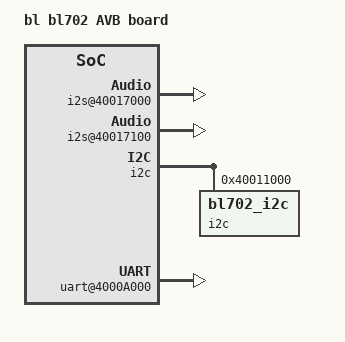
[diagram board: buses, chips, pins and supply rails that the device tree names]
/dts-v1/;
// version: 17
// last_comp_version: 16
// boot_cpuid_phys: 0x0

/ {
    model = "bl bl702 AVB board";
    compatible = "bl,bl702-sample", "bl,bl702-common";
    #address-cells = <0x1>;
    #size-cells = <0x1>;
    gpio {
        #address-cells = <1>;
        #size-cells = <1>;
        max_num = <40>;
        gpio0 {                                  
            status = "okay";                     
            pin  = <31>;                          
            feature = "led";                     
            active = "Hi"; //Hi or Lo
            mode = "blink"; //blink or hearbeat
            time = <100>; //duration for this mode
        };
        gpio1 {                                  
            status = "disable";                     
            pin  = <6>;                          
            feature = "led";                     
            active = "Hi"; //Hi or Lo
            mode = "blink"; //blink or hearbeat
            time = <100>; //duration for this mode
        };
    };
    i2s {
        #address-cells = <1>;
        #size-cells = <1>;
        i2s@40017000 {
            status = "okay";
            compatible = "bl702_i2s";
            reg = <0x40017000 0x100>;
            mclk_only = "okay";
            pin {
                mclk = <11>;
            };
        };
        i2s@40017100 {
            status = "okay";
            compatible = "bl702_i2s";
            reg = <0x40017100 0x100>;
            mclk_only = "disable";
            pin {
                bclk = <12>;
                fs = <29>;
                do = <30>;
                di = <31>;
            };
        };
    };
    i2c {
        #address-cells = <1>;
        #size-cells = <1>;
        i2c@40011000 {
            status = "okay";
            compatible = "bl702_i2c";
            reg = <0x40011000 0x100>;
            pin {
                scl = <32>;
                sda = <13>;
            };
            devices {
                list_addr = <0x18 0x21>;
                list_driver = "i2c_es8311", "i2c_gc0308>";
            };
        };
        i2c@40011100 {
            status = "disable";
            compatible = "bl702_i2c";
            reg = <0x40011100 0x100>;
            pin {
                /*empty here*/
            };
        };
    };
    timer {
        #address-cells = <1>;
        #size-cells = <1>;
        timer@40014000 {
            status = "disable";
            compatible = "bl702_timer";
            reg = <0x40014000 0x100>;
        };
        timer@40014100 {
            status = "disable";
            compatible = "bl702_timer";
            reg = <0x40014100 0x100>;
        };
    };
    pwm {
        #address-cells = <1>;
        #size-cells = <1>;
        pwm@40012000 {
            status = "disable";
            compatible = "bl702_pwm";
            reg = <0x40012000 0x100>;
            pin {
                /*empty here*/
            };
        };
    };
    uart {
        #address-cells = <1>;
        #size-cells = <1>;
        uart@4000A000 {
            status = "okay";
            id = <0>;
            compatible = "bl702_uart";
            path = "/dev/ttyS0";
            baudrate = <2000000>;
            pin {
                rx = <15>;
                tx = <14>;
            };
            feature {
                tx = "okay";
                rx = "okay";
                cts = "disable";
                rts = "disable";
            };
        };
        uart@4000A100 {
            status = "disable";
            id = <1>;
            compatible = "bl702_uart";
            path = "/dev/ttyS1";
            baudrate = <115200>;
            pin {
                rx = <3>;
                tx = <4>;
            };
            feature {
                tx = "okay";
                rx = "okay";
                cts = "disable";
                rts = "disable";
            };
        };
    };
    spi {
        #address-cells = <1>;
        #size-cells = <1>;
        spi@4000F000 {
            status = "disable";
            reg = <0x4000F000 0x100>;/* 4KB */
        };
    };
    gpip {
        #address-cells = <1>;
        #size-cells = <1>;
        adc_key {
            status = "disable";
            pin = <9>;
            interrupt  = <3>;
            key_vol = <0 100 400 300 500>;
            key_pcb = "SW1", "SW2", "SW3", "SW4","SW5";
            key_event = "Usr1", "Usr2", "Start", "Up", "Down";
            key_raw = <1 2 3 4 5>;
        };
    };
    qspi {
        #address-cells = <1>;
        #size-cells = <1>;
        qspi@4000A000 {
            status = "disable";
            reg = <0x4000A000 0x1000>;/* 4KB */
        };
    };
    wireless {
        #address-cells = <1>;
        #size-cells = <1>;
        mac {
            mode = "MBF";  // 'M': manufacture; 'B': efuse; 'F': flash
            mac_addr = [C8 43 57 82 73 40 88 88];
        };
    };
};
